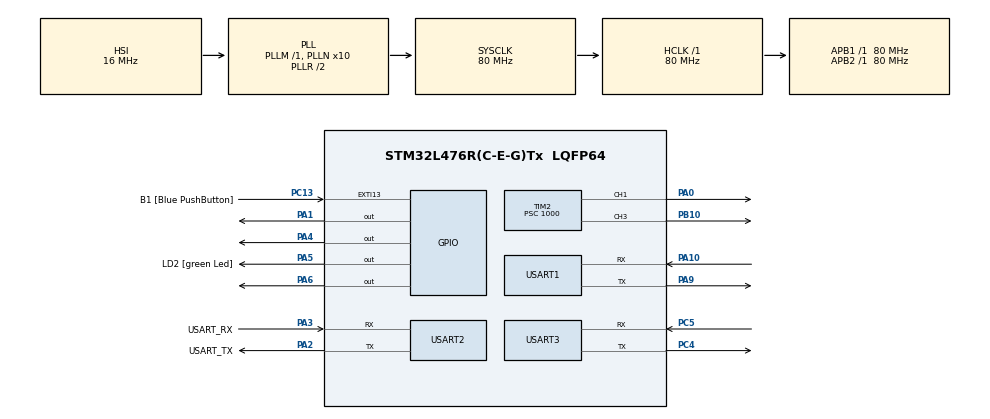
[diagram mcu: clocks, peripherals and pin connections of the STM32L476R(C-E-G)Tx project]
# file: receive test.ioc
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Mcu.Family=STM32L4
Mcu.Name=STM32L476R(C-E-G)Tx
Mcu.Package=LQFP64
NVIC.PriorityGroup=NVIC_PRIORITYGROUP_4
NVIC.USART1_IRQn=true\:0\:0\:false\:false\:true\:true\:true\:true
NVIC.USART2_IRQn=true\:0\:0\:false\:false\:true\:true\:true\:true
NVIC.USART3_IRQn=true\:0\:0\:false\:false\:true\:true\:true\:true
PA0.Signal=S_TIM2_CH1
PA1.Signal=GPIO_Output
PA10.Mode=Asynchronous
PA10.Signal=USART1_RX
PA13\ (JTMS-SWDIO).GPIO_Label=TMS
PA13\ (JTMS-SWDIO).Mode=Serial_Wire
PA13\ (JTMS-SWDIO).Signal=SYS_JTMS-SWDIO
PA14\ (JTCK-SWCLK).GPIO_Label=TCK
PA14\ (JTCK-SWCLK).Mode=Serial_Wire
PA14\ (JTCK-SWCLK).Signal=SYS_JTCK-SWCLK
PA2.GPIO_Label=USART_TX
PA2.GPIO_Mode=GPIO_MODE_AF_PP
PA2.GPIO_PuPd=GPIO_NOPULL
PA2.GPIO_Speed=GPIO_SPEED_FREQ_VERY_HIGH
PA2.Mode=Asynchronous
PA2.Signal=USART2_TX
PA3.GPIO_Label=USART_RX
PA3.GPIO_Mode=GPIO_MODE_AF_PP
PA3.GPIO_PuPd=GPIO_NOPULL
PA3.GPIO_Speed=GPIO_SPEED_FREQ_VERY_HIGH
PA3.Mode=Asynchronous
PA3.Signal=USART2_RX
PA4.Signal=GPIO_Output
PA5.GPIO_Label=LD2 [green Led]
PA5.GPIO_ModeDefaultOutputPP=GPIO_MODE_OUTPUT_PP
PA5.GPIO_PuPd=GPIO_NOPULL
PA5.GPIO_Speed=GPIO_SPEED_FREQ_LOW
PA5.Signal=GPIO_Output
PA6.Signal=GPIO_Output
PA9.Mode=Asynchronous
PA9.Signal=USART1_TX
PB10.Signal=S_TIM2_CH3
PB3\ (JTDO-TRACESWO).GPIO_Label=SWO
PB3\ (JTDO-TRACESWO).Signal=SYS_JTDO-SWO
PC13.GPIO_Label=B1 [Blue PushButton]
PC13.GPIO_ModeDefaultEXTI=GPIO_MODE_IT_FALLING
PC13.GPIO_PuPd=GPIO_NOPULL
PC13.Signal=GPXTI13
PC14-OSC32_IN\ (PC14).Mode=LSE-External-Oscillator
PC14-OSC32_IN\ (PC14).Signal=RCC_OSC32_IN
PC15-OSC32_OUT\ (PC15).Mode=LSE-External-Oscillator
PC15-OSC32_OUT\ (PC15).Signal=RCC_OSC32_OUT
PC4.Mode=Asynchronous
PC4.Signal=USART3_TX
PC5.Mode=Asynchronous
PC5.Signal=USART3_RX
PH0-OSC_IN\ (PH0).Signal=RCC_OSC_IN
PH1-OSC_OUT\ (PH1).Signal=RCC_OSC_OUT
ProjectManager.HeapSize=0x200
ProjectManager.StackSize=0x400
ProjectManager.TargetToolchain=STM32CubeIDE
RCC.ADCFreq_Value=64000000
RCC.AHBFreq_Value=80000000
RCC.APB1Freq_Value=80000000
RCC.APB1TimFreq_Value=80000000
RCC.APB2Freq_Value=80000000
RCC.APB2TimFreq_Value=80000000
RCC.CortexFreq_Value=80000000
RCC.HCLKFreq_Value=80000000
RCC.HSE_VALUE=8000000
RCC.HSI_VALUE=16000000
RCC.MSI_VALUE=4000000
RCC.PLLN=10
RCC.PLLSourceVirtual=RCC_PLLSOURCE_HSI
RCC.PREFETCH_ENABLE=1
RCC.SYSCLKFreq_VALUE=80000000
RCC.SYSCLKSource=RCC_SYSCLKSOURCE_PLLCLK
RCC.USBFreq_Value=64000000
RCC.VCOOutputFreq_Value=160000000
SH.S_TIM2_CH1.0=TIM2_CH1,PWM Generation1 CH1
SH.S_TIM2_CH3.0=TIM2_CH3,PWM Generation3 CH3
TIM2.Channel-PWM\ Generation1\ CH1=TIM_CHANNEL_1
TIM2.Channel-PWM\ Generation3\ CH3=TIM_CHANNEL_3
TIM2.Period=255
TIM2.Prescaler=1000
USART1.VirtualMode-Asynchronous=VM_ASYNC
USART2.VirtualMode-Asynchronous=VM_ASYNC
USART3.VirtualMode-Asynchronous=VM_ASYNC
VP_TIM2_VS_ClockSourceINT.Mode=Internal
board=NUCLEO-L476RG

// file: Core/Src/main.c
/* USER CODE BEGIN Header */
/**
  ******************************************************************************
  * @file           : main.c
  * @brief          : Main program body with UWB trilateration
  ******************************************************************************
  * @attention
  *
  * Copyright (c) 2025 STMicroelectronics.
  * All rights reserved.
  *
  * This software is licensed under terms that can be found in the LICENSE file
  * in the root directory of this software component.
  * If no LICENSE file comes with this software, it is provided AS-IS.
  *
  ******************************************************************************
  */
/* USER CODE END Header */
#include "main.h"

/* USER CODE BEGIN Includes */
#include <stdio.h>
#include <string.h>
#include <stdlib.h>
#include <math.h>
#include <float.h>
#include "driving.h"
/* USER CODE END Includes */

/* USER CODE BEGIN PTD */
// Define structure for anchor points
typedef struct {
    char name[10];
    float x;
    float y;
} Anchor_t;

// Define structure for tag position
typedef struct {
    float x;
    float y;
    uint8_t status; // 1 if position valid, 0 if not
} Tag_t;

// Define structure for a point
typedef struct {
    float x;
    float y;
} Point_t;

// Define structure for circle intersection results
typedef struct {
    Point_t points[2];
    uint8_t count;
} Intersection_t;

/* USER CODE END PTD */

/* USER CODE BEGIN PD */
#define RX_BUFFER_SIZE 256      // Increased buffer size for longer messages
#define MAX_ANCHORS 3           // Number of anchors in the system
#define RANGE_BUFFER_SIZE 10    // Number of samples to average (smaller than Python for memory)
#define MAX_INTERSECTIONS 6     // Maximum number of intersections (3 anchors = max 6 intersections)

// Navigation variables
#define TARGET_X_POSITION    200.0f
#define TARGET_Y_POSITION    200.0f
/* USER CODE END PD */

TIM_HandleTypeDef htim2;

UART_HandleTypeDef huart1;
UART_HandleTypeDef huart2;
UART_HandleTypeDef huart3;

/* USER CODE BEGIN PV */
uint8_t rx_buffer[RX_BUFFER_SIZE];
uint8_t rx_index = 0;
uint8_t rx_byte;
uint8_t rx_data_ready = 0;

// Motor control pin definitions
#define AIN1 GPIO_PIN_1
#define BIN1 GPIO_PIN_4
#define STBY GPIO_PIN_6
#define IN_Port GPIOA
#define STBY_Port GPIOA

// Navigation variables - these are defined in driving.c, just reference them here
extern int navigation_active;
extern int navigation_stage;
#define UWB_UNITS_PER_METER  175.0f
#define DRIVE_TIME_PER_METER 1805.0f

// Anchor configuration (can be changed as needed)
Anchor_t anchors[MAX_ANCHORS] = {
    {"ANC 0", 0.0f, 0.0f},      // Anchor 0 at origin
    {"ANC 1", 270.0f, 0.0f},    // Anchor 1 at (270, 0)
    {"ANC 2", 270.0f, 400.0f}   // Anchor 2 at (270, 400)
};

// Range measurements
int32_t tag_ranges[MAX_ANCHORS];
int32_t tag_ranges_buffer[MAX_ANCHORS][RANGE_BUFFER_SIZE];
uint8_t buffer_index[MAX_ANCHORS] = {0};
uint8_t buffer_full[MAX_ANCHORS] = {0};

// Tag position
Tag_t tag = {0.0f, 0.0f, 0};

// Temporary storage for intersection calculations
Intersection_t intersections[MAX_INTERSECTIONS];
uint8_t intersection_count = 0;

/* USER CODE END PV */

void SystemClock_Config(void);
static void MX_GPIO_Init(void);
static void MX_USART2_UART_Init(void);
static void MX_TIM2_Init(void);
static void MX_USART1_UART_Init(void);
static void MX_USART3_UART_Init(void);
/* USER CODE BEGIN PFP */
void print_debug(const char *msg);
void parse_range_data(char *data);
void update_range_buffers(int32_t new_ranges[]);
void calculate_tag_position(void);
Intersection_t circle_intersections(float x1, float y1, float r1, float x2, float y2, float r2);
float calculate_distance(Point_t p1, Point_t p2);
void find_best_intersection_set(Point_t *result);
/* USER CODE END PFP */

/* USER CODE BEGIN 0 */

// Send debug message to PC via UART2 (ST-Link Virtual COM port)
void print_debug(const char *msg) {
    HAL_UART_Transmit(&huart2, (uint8_t*)msg, strlen(msg), HAL_MAX_DELAY);
}

// Calculate Euclidean distance between two points
float calculate_distance(Point_t p1, Point_t p2) {
    return sqrtf((p2.x - p1.x) * (p2.x - p1.x) + (p2.y - p1.y) * (p2.y - p1.y));
}

// Calculate intersection between two circles
Intersection_t circle_intersections(float x1, float y1, float r1, float x2, float y2, float r2) {
    Intersection_t result = {{0}, 0};
    char debug_msg[100];

    // Calculate distance between centers
    float d = sqrtf((x2 - x1) * (x2 - x1) + (y2 - y1) * (y2 - y1));

    sprintf(debug_msg, "DEBUG: Circle intersection: centers distance=%.2f, r1=%.2f, r2=%.2f\r\n", d, r1, r2);
    print_debug(debug_msg);

    // Check if circles are too far apart or one inside the other
    if (d > r1 + r2 || d < fabsf(r1 - r2)) {
        // No intersection, find closest point on each circle and average
        float closest_x1 = x1 + (r1 * (x2 - x1) / d);
        float closest_y1 = y1 + (r1 * (y2 - y1) / d);
        float closest_x2 = x2 - (r2 * (x2 - x1) / d);
        float closest_y2 = y2 - (r2 * (y2 - y1) / d);

        result.points[0].x = (closest_x1 + closest_x2) / 2.0f;
        result.points[0].y = (closest_y1 + closest_y2) / 2.0f;
        result.count = 1;

        sprintf(debug_msg, "DEBUG: No intersection, using closest point: (%.2f, %.2f)\r\n",
                result.points[0].x, result.points[0].y);
        print_debug(debug_msg);
        return result;
    }

    // Calculate intersection points
    float a = (r1*r1 - r2*r2 + d*d) / (2.0f * d);
    float h = sqrtf(r1*r1 - a*a);
    float x3 = x1 + a * (x2 - x1) / d;
    float y3 = y1 + a * (y2 - y1) / d;

    // First intersection
    result.points[0].x = x3 + h * (y2 - y1) / d;
    result.points[0].y = y3 - h * (x2 - x1) / d;

    // Second intersection
    result.points[1].x = x3 - h * (y2 - y1) / d;
    result.points[1].y = y3 + h * (x2 - x1) / d;

    result.count = 2;

    sprintf(debug_msg, "DEBUG: Found 2 intersections: (%.2f, %.2f) and (%.2f, %.2f)\r\n",
            result.points[0].x, result.points[0].y, result.points[1].x, result.points[1].y);
    print_debug(debug_msg);
    return result;
}

// Find the best set of intersection points
void find_best_intersection_set(Point_t *result) {
    // Debug: print intersection count
    char debug_msg[100];
    sprintf(debug_msg, "DEBUG: Processing %d intersections\r\n", intersection_count);
    print_debug(debug_msg);

    // If too few intersections, use a simpler approach
    if (intersection_count < 3) {
        // If we have at least one intersection, use it
        if (intersection_count > 0) {
            result->x = intersections[0].points[0].x;
            result->y = intersections[0].points[0].y;
            tag.status = 1;

            // If we have exactly two intersections, average them
            if (intersection_count == 2) {
                result->x = (intersections[0].points[0].x + intersections[1].points[0].x) / 2.0f;
                result->y = (intersections[0].points[0].y + intersections[1].points[0].y) / 2.0f;
            }

            sprintf(debug_msg, "DEBUG: Using simple averaging with %d points\r\n", intersection_count);
            print_debug(debug_msg);
            return;
        }

        tag.status = 0;
        return;
    }

    // Find the set of 3 points with minimum total distance between them
    float min_dist = 1000000.0f; // Use a very large number instead of FLT_MAX
    Point_t best_points[3];
    int found_set = 0;

    // Try all combinations of 3 points
    for (int i = 0; i < intersection_count - 2; i++) {
        for (int j = i + 1; j < intersection_count - 1; j++) {
            for (int k = j + 1; k < intersection_count; k++) {
                Point_t p1 = intersections[i].points[0];
                Point_t p2 = intersections[j].points[0];
                Point_t p3 = intersections[k].points[0];

                // Calculate total distance between points
                float dist = calculate_distance(p1, p2) +
                             calculate_distance(p1, p3) +
                             calculate_distance(p2, p3);

                if (dist < min_dist) {
                    min_dist = dist;
                    best_points[0] = p1;
                    best_points[1] = p2;
                    best_points[2] = p3;
                    found_set = 1;
                }
            }
        }
    }

    if (found_set) {
        // Calculate centroid of best three points
        result->x = (best_points[0].x + best_points[1].x + best_points[2].x) / 3.0f;
        result->y = (best_points[0].y + best_points[1].y + best_points[2].y) / 3.0f;
        tag.status = 1;

        // Debug output
        sprintf(debug_msg, "DEBUG: Best set found, min_dist=%.2f\r\n", min_dist);
        print_debug(debug_msg);
        sprintf(debug_msg, "DEBUG: Points used: (%.2f,%.2f), (%.2f,%.2f), (%.2f,%.2f)\r\n",
                best_points[0].x, best_points[0].y,
                best_points[1].x, best_points[1].y,
                best_points[2].x, best_points[2].y);
        print_debug(debug_msg);
    } else {
        // If we somehow didn't find a valid set, use simple averaging of all points
        result->x = 0;
        result->y = 0;
        for (int i = 0; i < intersection_count; i++) {
            result->x += intersections[i].points[0].x;
            result->y += intersections[i].points[0].y;
        }
        result->x /= intersection_count;
        result->y /= intersection_count;
        tag.status = 1;

        sprintf(debug_msg, "DEBUG: Using average of all %d points\r\n", intersection_count);
        print_debug(debug_msg);
    }

    // Calculate centroid of best three points
    result->x = (best_points[0].x + best_points[1].x + best_points[2].x) / 3.0f;
    result->y = (best_points[0].y + best_points[1].y + best_points[2].y) / 3.0f;
    tag.status = 1;
}

// Calculate the tag position using trilateration
void calculate_tag_position(void) {
    intersection_count = 0;

    // Check if we have valid ranges
    char debug_msg[100];
    sprintf(debug_msg, "DEBUG: Starting trilateration with ranges: %ld, %ld, %ld\r\n",
            (long)tag_ranges[0], (long)tag_ranges[1], (long)tag_ranges[2]);
    print_debug(debug_msg);

    // Skip calculation if any range is zero (invalid)
    if (tag_ranges[0] <= 0 || tag_ranges[1] <= 0 || tag_ranges[2] <= 0) {
        print_debug("DEBUG: Invalid ranges, skipping trilateration\r\n");
        tag.status = 0;
        return;
    }

    // Calculate all pairwise intersections
    for (int i = 0; i < MAX_ANCHORS; i++) {
        for (int j = i + 1; j < MAX_ANCHORS; j++) {
            // Skip if we've reached maximum number of intersections
            if (intersection_count >= MAX_INTERSECTIONS) break;

            // Skip if either range is zero
            if (tag_ranges[i] <= 0 || tag_ranges[j] <= 0) continue;

            // Calculate intersection
            Intersection_t result = circle_intersections(
                anchors[i].x, anchors[i].y, (float)tag_ranges[i],
                anchors[j].x, anchors[j].y, (float)tag_ranges[j]
            );

            // Debug output for each intersection calculation
            sprintf(debug_msg, "DEBUG: Intersection %d-%d: found %d points\r\n",
                    i, j, result.count);
            print_debug(debug_msg);

            // Store all intersection points
            for (int k = 0; k < result.count; k++) {
                if (intersection_count < MAX_INTERSECTIONS) {
                    intersections[intersection_count].points[0] = result.points[k];
                    intersections[intersection_count].count = 1;

                    // Debug output for point coordinates
                    sprintf(debug_msg, "  Point %d: (%.2f, %.2f)\r\n",
                            intersection_count, result.points[k].x, result.points[k].y);
                    print_debug(debug_msg);

                    intersection_count++;
                }
            }
        }
    }

    // Find best intersection set and calculate position
    Point_t position = {0};
    find_best_intersection_set(&position);

    // Update tag position if calculation was successful
    if (tag.status) {
        tag.x = position.x;
        tag.y = position.y;

        sprintf(debug_msg, "DEBUG: Final position calculated: (%.2f, %.2f)\r\n",
                tag.x, tag.y);
        print_debug(debug_msg);
    } else {
        print_debug("DEBUG: Position calculation failed\r\n");
    }
}

// Update range buffers with new readings
void update_range_buffers(int32_t new_ranges[]) {
    char debug_msg[100];

    // Add new readings to buffer and calculate averages
    for (int i = 0; i < MAX_ANCHORS; i++) {
        // Skip invalid readings (negative values)
        if (new_ranges[i] < 0) continue;

        // Add to buffer
        tag_ranges_buffer[i][buffer_index[i]] = new_ranges[i];
        buffer_index[i] = (buffer_index[i] + 1) % RANGE_BUFFER_SIZE;

        // Mark buffer as full after we've collected enough samples
        if (buffer_index[i] == 0) {
            buffer_full[i] = 1;
        }

        // Calculate average
        int32_t sum = 0;
        int count = buffer_full[i] ? RANGE_BUFFER_SIZE : buffer_index[i];

        if (count > 0) {
            for (int j = 0; j < count; j++) {
                sum += tag_ranges_buffer[i][j];
            }
            tag_ranges[i] = sum / count;
        }

        // Debug output
        sprintf(debug_msg, "ANC%d Range: %ld cm  (Raw: %ld, Samples: %d)\r\n",
                i, (long)tag_ranges[i], (long)new_ranges[i], count);
        print_debug(debug_msg);
    }
}

// Parse the range data from the received string
void parse_range_data(char *data) {
    char *range_start = strstr(data, "range:(");

    if (range_start) {
        // Move pointer to start of range values
        range_start += 7; // Skip "range:("

        // Create a copy to tokenize
        char range_str[100];
        strncpy(range_str, range_start, 99);
        range_str[99] = '\0';

        // Find end of range values
        char *range_end = strchr(range_str, ')');
        if (range_end) *range_end = '\0';

        // Parse comma-separated values
        int32_t new_ranges[MAX_ANCHORS] = {0};
        char *token = strtok(range_str, ",");
        int i = 0;

        while (token != NULL && i < MAX_ANCHORS) {
            new_ranges[i++] = atoi(token);
            token = strtok(NULL, ",");
        }

        // Update range buffers with new readings
        update_range_buffers(new_ranges);

        // Calculate new tag position
        calculate_tag_position();

        // Output tag position
        char pos_msg[100];
        if (tag.status) {
            sprintf(pos_msg, "TAG Position: (%.2f, %.2f) cm\r\n", tag.x, tag.y);
        } else {
            sprintf(pos_msg, "TAG Position: Unknown\r\n");
        }
        // Debug intersection count
        sprintf(pos_msg + strlen(pos_msg), "Debug: Found %d intersections\r\n", intersection_count);
        print_debug(pos_msg);
    }
}

// Process received UART data
void process_uart_data(void) {
    if (rx_index > 0) {
        // Add null terminator for string functions
        rx_buffer[rx_index] = '\0';

        // Forward the received data to UART2 (PC)
        print_debug("UART3 Data: ");
        print_debug((char*)rx_buffer);

        // If there's no newline at the end, add one for better readability in terminal
        if (rx_buffer[rx_index-1] != '\n' && rx_buffer[rx_index-1] != '\r') {
            print_debug("\r\n");
        }

        // Check if this is a range data message
        if (strstr((char*)rx_buffer, "AT+RANGE")) {
            parse_range_data((char*)rx_buffer);
        }

        // Reset buffer for next message
        rx_index = 0;
    }
}

// UART receive interrupt callback
void HAL_UART_RxCpltCallback(UART_HandleTypeDef *huart) {
    if (huart->Instance == USART3) {  // If the received data is on USART3 (PA10)
        // Store the received byte
        if (rx_index < RX_BUFFER_SIZE - 1) {  // Leave room for null terminator
            rx_buffer[rx_index++] = rx_byte;
        }

        // If newline character received or buffer is getting full, mark data as ready
        if (rx_byte == '\n' || rx_byte == '\r' || rx_index >= RX_BUFFER_SIZE - 1) {
            rx_data_ready = 1;
        }

        // Re-enable UART receive interrupt for next byte
        HAL_UART_Receive_IT(&huart3, &rx_byte, 1);
    }
}

/* USER CODE BEGIN 4 */
// Button press handler for navigation
void HAL_GPIO_EXTI_Callback(uint16_t GPIO_Pin) {
    if (GPIO_Pin == B1_Pin) { // Blue button on PC13
        // Only start navigation if we have a valid position
        if (tag.status == 1) {
            char debug_msg[100];
            sprintf(debug_msg, "Starting navigation from (%.2f, %.2f) to (%.2f, %.2f)\r\n",
                    tag.x, tag.y, TARGET_X_POSITION, TARGET_Y_POSITION);
            print_debug(debug_msg);

            navigation_active = 1;
            navigation_stage = 1; // Start with Y-direction movement
        } else {
            print_debug("Cannot navigate: No valid position data\r\n");
        }
    }
}
/* USER CODE END 4 */

int main(void)
{

  /* MCU Configuration--------------------------------------------------------*/

  /* Reset of all peripherals, Initializes the Flash interface and the Systick. */
  HAL_Init();

  /* Configure the system clock */
  SystemClock_Config();

  /* Initialize all configured peripherals */
  MX_GPIO_Init();
  MX_USART2_UART_Init();
  MX_TIM2_Init();
  MX_USART1_UART_Init();
  MX_USART3_UART_Init();
  /* USER CODE BEGIN 2 */

  // Clear buffer and flags
  memset(rx_buffer, 0, RX_BUFFER_SIZE);
  rx_index = 0;
  rx_data_ready = 0;

  // Initialize the range buffers
  for (int i = 0; i < MAX_ANCHORS; i++) {
    memset(tag_ranges_buffer[i], 0, sizeof(tag_ranges_buffer[i]));
    tag_ranges[i] = 0;
    buffer_index[i] = 0;
    buffer_full[i] = 0;
  }

  // Start the UART3 receive interrupt (PA10 is UART1 RX)
  if (HAL_UART_Receive_IT(&huart3, &rx_byte, 1) != HAL_OK) {
    print_debug("ERROR: Failed to start UART3 reception\r\n");
  }

  // Send initial message and anchor information to PC
  print_debug("UWB Trilateration System Initialized\r\n");
  print_debug("----------------------------------\r\n");

  char anchor_info[100];
  for (int i = 0; i < MAX_ANCHORS; i++) {
    sprintf(anchor_info, "Anchor %d: (%.2f, %.2f) cm\r\n", i, anchors[i].x, anchors[i].y);
    print_debug(anchor_info);
  }
  print_debug("----------------------------------\r\n");

  // Set the target position for navigation
  char target_info[100];
  sprintf(target_info, "Target position set to: (%.2f, %.2f) cm\r\n",
          TARGET_X_POSITION, TARGET_Y_POSITION);
  print_debug(target_info);
  print_debug("Press blue button (PC13) to start navigation\r\n");
  print_debug("----------------------------------\r\n");
  print_debug("Listening for range data...\r\n\r\n");

  // Initialize motor control pins
  HAL_GPIO_WritePin(IN_Port, AIN1, GPIO_PIN_RESET);
  HAL_GPIO_WritePin(IN_Port, BIN1, GPIO_PIN_RESET);
  HAL_GPIO_WritePin(STBY_Port, STBY, GPIO_PIN_SET);

  // Start PWM for motor control
  HAL_TIM_PWM_Start(&htim2, TIM_CHANNEL_1);
  HAL_TIM_PWM_Start(&htim2, TIM_CHANNEL_3);
  __HAL_TIM_SET_COMPARE(&htim2, TIM_CHANNEL_1, 0);
  __HAL_TIM_SET_COMPARE(&htim2, TIM_CHANNEL_3, 0);

  /* USER CODE END 2 */

  /* Infinite loop */
  while (1)
  {

    /* USER CODE BEGIN 3 */
    // If we have received data, process it
    if (rx_data_ready) {
        process_uart_data();
        rx_data_ready = 0;
    }

    // Process navigation if active and we have valid position
    if (navigation_active && tag.status) {
        char debug_msg[100];

        // Calculate differences in X and Y
        float diff_y = TARGET_Y_POSITION - tag.y;
        float diff_x = TARGET_X_POSITION - tag.x;

        // Convert to physical units (assuming 175 units = 1 meter)
        float meters_y = diff_y / UWB_UNITS_PER_METER;
        float meters_x = diff_x / UWB_UNITS_PER_METER;

        // Calculate drive times (based on the robot's speed)
        int y_drive_time = (int)(fabs(meters_y) * DRIVE_TIME_PER_METER);
        int x_drive_time = (int)(fabs(meters_x) * DRIVE_TIME_PER_METER);

        // Handle navigation stages
        switch(navigation_stage) {
            case 1: // Y-direction movement
                sprintf(debug_msg, "Moving %.2f meters in Y direction\r\n", meters_y);
                print_debug(debug_msg);

                // Determine direction for Y movement
                if (fabs(meters_y) > 0.05f) { // Only move if difference is significant
                    if (meters_y > 0) {
                        // Set motor direction forward
                        HAL_GPIO_WritePin(IN_Port, AIN1, GPIO_PIN_RESET);
                        HAL_GPIO_WritePin(IN_Port, BIN1, GPIO_PIN_RESET);
                    } else {
                        // Set motor direction backward
                        HAL_GPIO_WritePin(IN_Port, AIN1, GPIO_PIN_SET);
                        HAL_GPIO_WritePin(IN_Port, BIN1, GPIO_PIN_SET);
                    }

                    // Enable motors
                    HAL_GPIO_WritePin(STBY_Port, STBY, GPIO_PIN_SET);

                    // Set PWM for both motors
                    __HAL_TIM_SET_COMPARE(&htim2, TIM_CHANNEL_1, 128);
                    __HAL_TIM_SET_COMPARE(&htim2, TIM_CHANNEL_3, 128);

                    // Run for calculated time
                    HAL_Delay(y_drive_time);

                    // Stop motors
                    __HAL_TIM_SET_COMPARE(&htim2, TIM_CHANNEL_1, 0);
                    __HAL_TIM_SET_COMPARE(&htim2, TIM_CHANNEL_3, 0);

                    print_debug("Y movement complete\r\n");
                }

                // Proceed to turning stage
                navigation_stage = 2;
                break;

            case 2: // Turning 90 degrees right
                if (fabs(meters_x) > 0.05f) { // Only turn if X difference is significant
                    print_debug("Turning 90 degrees right\r\n");

                    // Set one motor forward, one backward for turning
                    HAL_GPIO_WritePin(IN_Port, AIN1, GPIO_PIN_RESET);
                    HAL_GPIO_WritePin(IN_Port, BIN1, GPIO_PIN_SET);

                    // Enable motors
                    HAL_GPIO_WritePin(STBY_Port, STBY, GPIO_PIN_SET);

                    // Set PWM for both motors
                    __HAL_TIM_SET_COMPARE(&htim2, TIM_CHANNEL_1, 128);
                    __HAL_TIM_SET_COMPARE(&htim2, TIM_CHANNEL_3, 128);

                    // Turn for fixed time (adjust as needed for 90 degrees)
                    HAL_Delay(900);

                    // Stop motors
                    __HAL_TIM_SET_COMPARE(&htim2, TIM_CHANNEL_1, 0);
                    __HAL_TIM_SET_COMPARE(&htim2, TIM_CHANNEL_3, 0);

                    print_debug("Turn complete\r\n");
                }

                // Proceed to X-direction movement
                navigation_stage = 3;
                break;

            case 3: // X-direction movement
                sprintf(debug_msg, "Moving %.2f meters in X direction\r\n", meters_x);
                print_debug(debug_msg);

                // Determine direction for X movement
                if (fabs(meters_x) > 0.05f) { // Only move if difference is significant
                    if (meters_x > 0) {
                        // Set motor direction forward
                        HAL_GPIO_WritePin(IN_Port, AIN1, GPIO_PIN_RESET);
                        HAL_GPIO_WritePin(IN_Port, BIN1, GPIO_PIN_RESET);
                    } else {
                        // Set motor direction backward
                        HAL_GPIO_WritePin(IN_Port, AIN1, GPIO_PIN_SET);
                        HAL_GPIO_WritePin(IN_Port, BIN1, GPIO_PIN_SET);
                    }

                    // Enable motors
                    HAL_GPIO_WritePin(STBY_Port, STBY, GPIO_PIN_SET);

                    // Set PWM for both motors
                    __HAL_TIM_SET_COMPARE(&htim2, TIM_CHANNEL_1, 128);
                    __HAL_TIM_SET_COMPARE(&htim2, TIM_CHANNEL_3, 128);

                    // Run for calculated time
                    HAL_Delay(x_drive_time);

                    // Stop motors
                    __HAL_TIM_SET_COMPARE(&htim2, TIM_CHANNEL_1, 0);
                    __HAL_TIM_SET_COMPARE(&htim2, TIM_CHANNEL_3, 0);

                    print_debug("X movement complete\r\n");
                }

                // Navigation complete
                navigation_stage = 4;
                print_debug("Navigation complete!\r\n");
                navigation_active = 0;
                break;

            case 4: // Done
                // Already completed navigation
                navigation_active = 0;
                break;
        }
    }

    // Toggle LED to indicate system is running
    static uint32_t last_led_time = 0;
    uint32_t current_time = HAL_GetTick();
    if (current_time - last_led_time > 500) {
        last_led_time = current_time;
        HAL_GPIO_TogglePin(GPIOA, GPIO_PIN_5);
    }

    // Small delay to prevent CPU hogging
    HAL_Delay(100);
  }
  /* USER CODE END 3 */
}

void SystemClock_Config(void)
{
  RCC_OscInitTypeDef RCC_OscInitStruct = {0};
  RCC_ClkInitTypeDef RCC_ClkInitStruct = {0};

  /** Configure the main internal regulator output voltage
  */
  if (HAL_PWREx_ControlVoltageScaling(PWR_REGULATOR_VOLTAGE_SCALE1) != HAL_OK)
  {
    Error_Handler();
  }

  /** Initializes the RCC Oscillators according to the specified parameters
  * in the RCC_OscInitTypeDef structure.
  */
  RCC_OscInitStruct.OscillatorType = RCC_OSCILLATORTYPE_HSI;
  RCC_OscInitStruct.HSIState = RCC_HSI_ON;
  RCC_OscInitStruct.HSICalibrationValue = RCC_HSICALIBRATION_DEFAULT;
  RCC_OscInitStruct.PLL.PLLState = RCC_PLL_ON;
  RCC_OscInitStruct.PLL.PLLSource = RCC_PLLSOURCE_HSI;
  RCC_OscInitStruct.PLL.PLLM = 1;
  RCC_OscInitStruct.PLL.PLLN = 10;
  RCC_OscInitStruct.PLL.PLLP = RCC_PLLP_DIV7;
  RCC_OscInitStruct.PLL.PLLQ = RCC_PLLQ_DIV2;
  RCC_OscInitStruct.PLL.PLLR = RCC_PLLR_DIV2;
  if (HAL_RCC_OscConfig(&RCC_OscInitStruct) != HAL_OK)
  {
    Error_Handler();
  }

  /** Initializes the CPU, AHB and APB buses clocks
  */
  RCC_ClkInitStruct.ClockType = RCC_CLOCKTYPE_HCLK|RCC_CLOCKTYPE_SYSCLK
                              |RCC_CLOCKTYPE_PCLK1|RCC_CLOCKTYPE_PCLK2;
  RCC_ClkInitStruct.SYSCLKSource = RCC_SYSCLKSOURCE_PLLCLK;
  RCC_ClkInitStruct.AHBCLKDivider = RCC_SYSCLK_DIV1;
  RCC_ClkInitStruct.APB1CLKDivider = RCC_HCLK_DIV1;
  RCC_ClkInitStruct.APB2CLKDivider = RCC_HCLK_DIV1;

  if (HAL_RCC_ClockConfig(&RCC_ClkInitStruct, FLASH_LATENCY_4) != HAL_OK)
  {
    Error_Handler();
  }
}

static void MX_TIM2_Init(void)
{

  TIM_ClockConfigTypeDef sClockSourceConfig = {0};
  TIM_MasterConfigTypeDef sMasterConfig = {0};
  TIM_OC_InitTypeDef sConfigOC = {0};

  htim2.Instance = TIM2;
  htim2.Init.Prescaler = 1000;
  htim2.Init.CounterMode = TIM_COUNTERMODE_UP;
  htim2.Init.Period = 255;
  htim2.Init.ClockDivision = TIM_CLOCKDIVISION_DIV1;
  htim2.Init.AutoReloadPreload = TIM_AUTORELOAD_PRELOAD_DISABLE;
  if (HAL_TIM_Base_Init(&htim2) != HAL_OK)
  {
    Error_Handler();
  }
  sClockSourceConfig.ClockSource = TIM_CLOCKSOURCE_INTERNAL;
  if (HAL_TIM_ConfigClockSource(&htim2, &sClockSourceConfig) != HAL_OK)
  {
    Error_Handler();
  }
  if (HAL_TIM_PWM_Init(&htim2) != HAL_OK)
  {
    Error_Handler();
  }
  sMasterConfig.MasterOutputTrigger = TIM_TRGO_RESET;
  sMasterConfig.MasterSlaveMode = TIM_MASTERSLAVEMODE_DISABLE;
  if (HAL_TIMEx_MasterConfigSynchronization(&htim2, &sMasterConfig) != HAL_OK)
  {
    Error_Handler();
  }
  sConfigOC.OCMode = TIM_OCMODE_PWM1;
  sConfigOC.Pulse = 0;
  sConfigOC.OCPolarity = TIM_OCPOLARITY_HIGH;
  sConfigOC.OCFastMode = TIM_OCFAST_DISABLE;
  if (HAL_TIM_PWM_ConfigChannel(&htim2, &sConfigOC, TIM_CHANNEL_1) != HAL_OK)
  {
    Error_Handler();
  }
  if (HAL_TIM_PWM_ConfigChannel(&htim2, &sConfigOC, TIM_CHANNEL_3) != HAL_OK)
  {
    Error_Handler();
  }
  HAL_TIM_MspPostInit(&htim2);

}

static void MX_USART1_UART_Init(void)
{

  huart1.Instance = USART1;
  huart1.Init.BaudRate = 115200;
  huart1.Init.WordLength = UART_WORDLENGTH_8B;
  huart1.Init.StopBits = UART_STOPBITS_1;
  huart1.Init.Parity = UART_PARITY_NONE;
  huart1.Init.Mode = UART_MODE_TX_RX;
  huart1.Init.HwFlowCtl = UART_HWCONTROL_NONE;
  huart1.Init.OverSampling = UART_OVERSAMPLING_16;
  huart1.Init.OneBitSampling = UART_ONE_BIT_SAMPLE_DISABLE;
  huart1.AdvancedInit.AdvFeatureInit = UART_ADVFEATURE_NO_INIT;
  if (HAL_UART_Init(&huart1) != HAL_OK)
  {
    Error_Handler();
  }

}

static void MX_USART2_UART_Init(void)
{

  huart2.Instance = USART2;
  huart2.Init.BaudRate = 115200;
  huart2.Init.WordLength = UART_WORDLENGTH_8B;
  huart2.Init.StopBits = UART_STOPBITS_1;
  huart2.Init.Parity = UART_PARITY_NONE;
  huart2.Init.Mode = UART_MODE_TX_RX;
  huart2.Init.HwFlowCtl = UART_HWCONTROL_NONE;
  huart2.Init.OverSampling = UART_OVERSAMPLING_16;
  huart2.Init.OneBitSampling = UART_ONE_BIT_SAMPLE_DISABLE;
  huart2.AdvancedInit.AdvFeatureInit = UART_ADVFEATURE_NO_INIT;
  if (HAL_UART_Init(&huart2) != HAL_OK)
  {
    Error_Handler();
  }

}

static void MX_USART3_UART_Init(void)
{

  huart3.Instance = USART3;
  huart3.Init.BaudRate = 115200;
  huart3.Init.WordLength = UART_WORDLENGTH_8B;
  huart3.Init.StopBits = UART_STOPBITS_1;
  huart3.Init.Parity = UART_PARITY_NONE;
  huart3.Init.Mode = UART_MODE_TX_RX;
  huart3.Init.HwFlowCtl = UART_HWCONTROL_NONE;
  huart3.Init.OverSampling = UART_OVERSAMPLING_16;
  huart3.Init.OneBitSampling = UART_ONE_BIT_SAMPLE_DISABLE;
  huart3.AdvancedInit.AdvFeatureInit = UART_ADVFEATURE_NO_INIT;
  if (HAL_UART_Init(&huart3) != HAL_OK)
  {
    Error_Handler();
  }

}

static void MX_GPIO_Init(void)
{
  GPIO_InitTypeDef GPIO_InitStruct = {0};

  /* GPIO Ports Clock Enable */
  __HAL_RCC_GPIOC_CLK_ENABLE();
  __HAL_RCC_GPIOH_CLK_ENABLE();
  __HAL_RCC_GPIOA_CLK_ENABLE();
  __HAL_RCC_GPIOB_CLK_ENABLE();

  /*Configure GPIO pin Output Level */
  HAL_GPIO_WritePin(GPIOA, GPIO_PIN_1|GPIO_PIN_4|LD2_Pin|GPIO_PIN_6, GPIO_PIN_RESET);

  /*Configure GPIO pin : B1_Pin */
  GPIO_InitStruct.Pin = B1_Pin;
  GPIO_InitStruct.Mode = GPIO_MODE_IT_FALLING;
  GPIO_InitStruct.Pull = GPIO_NOPULL;
  HAL_GPIO_Init(B1_GPIO_Port, &GPIO_InitStruct);

  /*Configure GPIO pins : PA1 PA4 LD2_Pin PA6 */
  GPIO_InitStruct.Pin = GPIO_PIN_1|GPIO_PIN_4|LD2_Pin|GPIO_PIN_6;
  GPIO_InitStruct.Mode = GPIO_MODE_OUTPUT_PP;
  GPIO_InitStruct.Pull = GPIO_NOPULL;
  GPIO_InitStruct.Speed = GPIO_SPEED_FREQ_LOW;
  HAL_GPIO_Init(GPIOA, &GPIO_InitStruct);

  /* USER CODE BEGIN MX_GPIO_Init_2 */
  // Enable EXTI interrupt for the blue button
  HAL_NVIC_SetPriority(EXTI15_10_IRQn, 0, 0);
  HAL_NVIC_EnableIRQ(EXTI15_10_IRQn);
  /* USER CODE END MX_GPIO_Init_2 */
}

void Error_Handler(void)
{
  __disable_irq();
  while (1)
  {
  }
}
